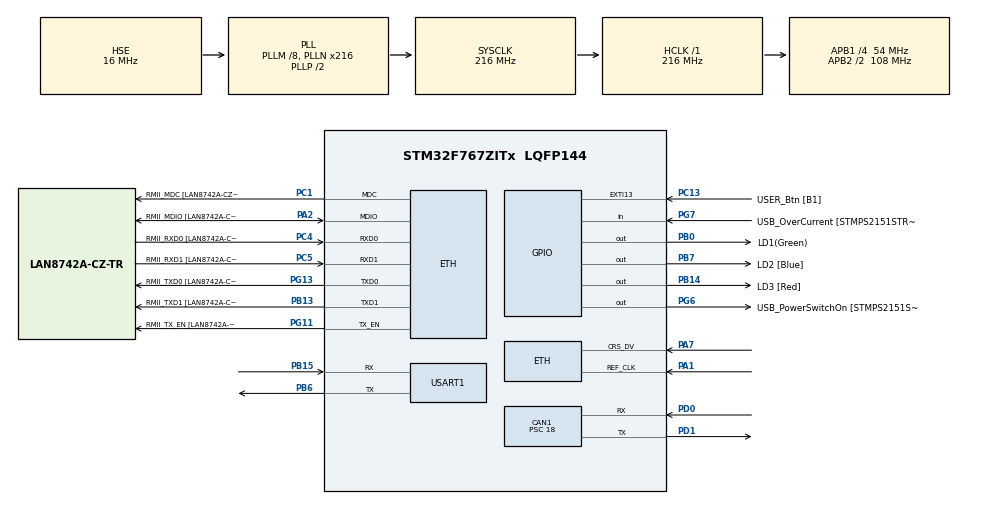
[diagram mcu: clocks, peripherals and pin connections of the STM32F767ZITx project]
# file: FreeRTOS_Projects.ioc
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CAN1.BS1=CAN_BS1_2TQ
CAN1.BS2=CAN_BS2_3TQ
CAN1.CalculateBaudRate=499999
CAN1.CalculateTimeBit=2000
CAN1.CalculateTimeQuantum=333.33333333333337
CAN1.Mode=CAN_MODE_LOOPBACK
CAN1.Prescaler=18
CAN1.SJW=CAN_SJW_2TQ
CORTEX_M7.AccessPermission-Cortex_Memory_Protection_Unit_Region0_Settings=MPU_REGION_FULL_ACCESS
CORTEX_M7.BaseAddress-Cortex_Memory_Protection_Unit_Region0_Settings=0x2007C000
CORTEX_M7.CPU_DCache=Enabled
CORTEX_M7.CPU_ICache=Enabled
CORTEX_M7.DisableExec-Cortex_Memory_Protection_Unit_Region0_Settings=MPU_INSTRUCTION_ACCESS_DISABLE
CORTEX_M7.Enable-Cortex_Memory_Protection_Unit_Region0_Settings=MPU_REGION_ENABLE
CORTEX_M7.IsBufferable-Cortex_Memory_Protection_Unit_Region0_Settings=MPU_ACCESS_NOT_BUFFERABLE
CORTEX_M7.IsShareable-Cortex_Memory_Protection_Unit_Region0_Settings=MPU_ACCESS_SHAREABLE
CORTEX_M7.MPU_Control=MPU_PRIVILEGED_DEFAULT
CORTEX_M7.Size-Cortex_Memory_Protection_Unit_Region0_Settings=MPU_REGION_SIZE_32KB
CORTEX_M7.TypeExtField-Cortex_Memory_Protection_Unit_Region0_Settings=MPU_TEX_LEVEL1
ETH.MediaInterface=HAL_ETH_RMII_MODE
ETH.RxBuffLen=1536
ETH.RxDescAddress=0x2007c000
ETH.RxMode=ETH_RXPOLLING_MODE
ETH.TxDescAddress=0x2007c0a0
Mcu.Family=STM32F7
Mcu.Name=STM32F767ZITx
Mcu.Package=LQFP144
NVIC.CAN1_RX0_IRQn=true\:0\:0\:false\:false\:true\:true\:true\:true
NVIC.CAN1_RX1_IRQn=true\:0\:0\:false\:false\:true\:true\:true\:true
NVIC.PriorityGroup=NVIC_PRIORITYGROUP_4
NVIC.TIM1_UP_TIM10_IRQn=true\:0\:0\:false\:false\:true\:true\:true\:true
NVIC.TIM6_DAC_IRQn=true\:15\:0\:false\:false\:true\:false\:true\:true
NVIC.TimeBase=TIM6_DAC_IRQn
NVIC.TimeBaseIP=TIM6
PA1.Mode=RMII
PA1.Signal=ETH_REF_CLK
PA10.GPIO_Label=USB_ID
PA10.Signal=USB_OTG_FS_ID
PA11.GPIO_Label=USB_DM
PA11.Signal=USB_OTG_FS_DM
PA12.GPIO_Label=USB_DP
PA12.Signal=USB_OTG_FS_DP
PA13.GPIO_Label=TMS
PA13.Signal=SYS_JTMS-SWDIO
PA14.GPIO_Label=TCK
PA14.Signal=SYS_JTCK-SWCLK
PA2.GPIO_Label=RMII_MDIO [LAN8742A-CZ-TR_MDIO]
PA2.Mode=RMII
PA2.Signal=ETH_MDIO
PA7.Mode=RMII
PA7.Signal=ETH_CRS_DV
PA8.GPIO_Label=USB_SOF [TP1]
PA8.Signal=USB_OTG_FS_SOF
PA9.GPIO_Label=USB_VBUS
PA9.Signal=USB_OTG_FS_VBUS
PB0.GPIO_Label=LD1(Green)
PB0.Signal=GPIO_Output
PB13.GPIO_Label=RMII_TXD1 [LAN8742A-CZ-TR_TXD1]
PB13.Mode=RMII
PB13.Signal=ETH_TXD1
PB14.GPIO_Label=LD3 [Red]
PB14.Signal=GPIO_Output
PB15.Mode=Asynchronous
PB15.Signal=USART1_RX
PB3.GPIO_Label=SW0
PB3.Signal=SYS_JTDO-SWO
PB6.Mode=Asynchronous
PB6.Signal=USART1_TX
PB7.GPIO_Label=LD2 [Blue]
PB7.Signal=GPIO_Output
PC1.GPIO_Label=RMII_MDC [LAN8742A-CZ-TR_MDC]
PC1.Mode=RMII
PC1.Signal=ETH_MDC
PC13.GPIO_Label=USER_Btn [B1]
PC13.Signal=GPXTI13
PC14/OSC32_IN.Signal=RCC_OSC32_IN
PC15/OSC32_OUT.Signal=RCC_OSC32_OUT
PC4.GPIO_Label=RMII_RXD0 [LAN8742A-CZ-TR_RXD0]
PC4.Mode=RMII
PC4.Signal=ETH_RXD0
PC5.GPIO_Label=RMII_RXD1 [LAN8742A-CZ-TR_RXD1]
PC5.Mode=RMII
PC5.Signal=ETH_RXD1
PD0.GPIO_PuPd=GPIO_PULLUP
PD0.Mode=CAN_Activate
PD0.Signal=CAN1_RX
PD1.GPIO_PuPd=GPIO_NOPULL
PD1.Mode=CAN_Activate
PD1.Signal=CAN1_TX
PD8.GPIO_Label=STLK_RX [STM32F103CBT6_PA3]
PD8.Signal=USART3_TX
PD9.GPIO_Label=STLK_TX [STM32F103CBT6_PA2]
PD9.Signal=USART3_RX
PG11.GPIO_Label=RMII_TX_EN [LAN8742A-CZ-TR_TXEN]
PG11.Mode=RMII
PG11.Signal=ETH_TX_EN
PG13.GPIO_Label=RMII_TXD0 [LAN8742A-CZ-TR_TXD0]
PG13.Mode=RMII
PG13.Signal=ETH_TXD0
PG6.GPIO_Label=USB_PowerSwitchOn [STMPS2151STR_EN]
PG6.Signal=GPIO_Output
PG7.GPIO_Label=USB_OverCurrent [STMPS2151STR_FAULT]
PG7.Signal=GPIO_Input
PH0/OSC_IN.GPIO_Label=MCO [STM32F103CBT6_PA8]
PH0/OSC_IN.Mode=HSE-External-Oscillator
PH0/OSC_IN.Signal=RCC_OSC_IN
PH1/OSC_OUT.Mode=HSE-External-Oscillator
PH1/OSC_OUT.Signal=RCC_OSC_OUT
ProjectManager.HeapSize=0x200
ProjectManager.StackSize=0x400
ProjectManager.TargetToolchain=STM32CubeIDE
RCC.48MHZClocksFreq_Value=24000000
RCC.AHBFreq_Value=216000000
RCC.APB1CLKDivider=RCC_HCLK_DIV4
RCC.APB1Freq_Value=54000000
RCC.APB1TimFreq_Value=108000000
RCC.APB2CLKDivider=RCC_HCLK_DIV2
RCC.APB2Freq_Value=108000000
RCC.APB2TimFreq_Value=216000000
RCC.CortexFreq_Value=216000000
RCC.HCLKFreq_Value=216000000
RCC.HSE_VALUE=16000000
RCC.HSI_VALUE=16000000
RCC.LSE_VALUE=32768
RCC.PLLM=8
RCC.PLLMUL=RCC_PLL_MUL9
RCC.PLLN=216
RCC.PLLQ=9
RCC.PLLSourceVirtual=RCC_PLLSOURCE_HSE
RCC.PRESCALERUSB=RCC_USBCLKSOURCE_PLL_DIV1_5
RCC.SYSCLKFreq_VALUE=216000000
RCC.SYSCLKSource=RCC_SYSCLKSOURCE_PLLCLK
RCC.SYSCLKSourceVirtual=RCC_SYSCLKSOURCE_PLLCLK
RCC.USBFreq_Value=48000000
RCC.VCOOutputFreq_Value=432000000
TIM1.Prescaler=10800-1
USART1.VirtualMode-Asynchronous=VM_ASYNC
VP_RNG_VS_RNG.Mode=RNG_Activate
VP_SYS_VS_tim6.Mode=TIM6
VP_TIM1_VS_ClockSourceINT.Mode=Internal
board=NUCLEO-F767ZI

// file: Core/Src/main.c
/* USER CODE BEGIN Header */
/**
  ******************************************************************************
  * @file           : main.c
  * @brief          : Main program body
  ******************************************************************************
  * @attention
  *
  * Copyright (c) 2026 STMicroelectronics.
  * All rights reserved.
  *
  * This software is licensed under terms that can be found in the LICENSE file
  * in the root directory of this software component.
  * If no LICENSE file comes with this software, it is provided AS-IS.
  *
  ******************************************************************************
  */
/* USER CODE END Header */
#include "main.h"
#include "can.h"
#include "eth.h"
#include "rng.h"
#include "tim.h"
#include "usart.h"
#include "gpio.h"

/* USER CODE BEGIN Includes */
#include "rtos.h"
#include "queue.h"
#include "app_config.h"
#include "stm32f767xx.h"
#include <../Src/tasks/IPTask/ipTask.h>
#include "tasks/AppManager/appTask.h"
#include "tasks/AppManager/mqtt/mqtt_task.h"
#include "tasks/CanCommunication/canTask.h"
/* USER CODE END Includes */

/* USER CODE BEGIN PV */
TaskAppQueues_s TaskQueues = {NULL, NULL};
/* USER CODE END PV */

void SystemClock_Config(void);
static void MPU_Config(void);

int main(void)
{

  /* MPU Configuration--------------------------------------------------------*/
  MPU_Config();

  /* Enable the CPU Cache */

  /* Enable I-Cache---------------------------------------------------------*/
  SCB_EnableICache();

  /* Enable D-Cache---------------------------------------------------------*/
  SCB_EnableDCache();

  /* MCU Configuration--------------------------------------------------------*/

  /* Reset of all peripherals, Initializes the Flash interface and the Systick. */
  HAL_Init();

  /* Configure the system clock */
  SystemClock_Config();

  /* Initialize all configured peripherals */
  MX_GPIO_Init();
  MX_CAN1_Init();
  MX_RNG_Init();
  MX_ETH_Init();
  MX_TIM1_Init();
  MX_USART1_UART_Init();
  /* USER CODE BEGIN 2 */
  SCB_DisableICache();
  SCB_DisableDCache();

  TaskQueues.mqttTaskQueue = xQueueCreate(TASK_QUEUE_LENGTH_MQTT, sizeof(MqttMessage_s));
  TaskQueues.canTaskQueue = xQueueCreate(TASK_QUEUE_LENGTH_CAN, sizeof(AppMessage_t));

  vStartNetwork();
  vTCPInitializeTask(&TaskQueues);
  AppTaskCreate();
  CanTaskCreate(&TaskQueues);

  configureInetrrupt();
  vTaskStartScheduler();

  /* USER CODE END 2 */

  /* Infinite loop */
  while (1)
  {

  }
}

void SystemClock_Config(void)
{
  RCC_OscInitTypeDef RCC_OscInitStruct = {0};
  RCC_ClkInitTypeDef RCC_ClkInitStruct = {0};

  /** Configure the main internal regulator output voltage
  */
  __HAL_RCC_PWR_CLK_ENABLE();
  __HAL_PWR_VOLTAGESCALING_CONFIG(PWR_REGULATOR_VOLTAGE_SCALE1);

  /** Initializes the RCC Oscillators according to the specified parameters
  * in the RCC_OscInitTypeDef structure.
  */
  RCC_OscInitStruct.OscillatorType = RCC_OSCILLATORTYPE_HSE;
  RCC_OscInitStruct.HSEState = RCC_HSE_ON;
  RCC_OscInitStruct.PLL.PLLState = RCC_PLL_ON;
  RCC_OscInitStruct.PLL.PLLSource = RCC_PLLSOURCE_HSE;
  RCC_OscInitStruct.PLL.PLLM = 8;
  RCC_OscInitStruct.PLL.PLLN = 216;
  RCC_OscInitStruct.PLL.PLLP = RCC_PLLP_DIV2;
  RCC_OscInitStruct.PLL.PLLQ = 9;
  RCC_OscInitStruct.PLL.PLLR = 2;
  if (HAL_RCC_OscConfig(&RCC_OscInitStruct) != HAL_OK)
  {
    Error_Handler();
  }

  /** Activate the Over-Drive mode
  */
  if (HAL_PWREx_EnableOverDrive() != HAL_OK)
  {
    Error_Handler();
  }

  /** Initializes the CPU, AHB and APB buses clocks
  */
  RCC_ClkInitStruct.ClockType = RCC_CLOCKTYPE_HCLK|RCC_CLOCKTYPE_SYSCLK
                              |RCC_CLOCKTYPE_PCLK1|RCC_CLOCKTYPE_PCLK2;
  RCC_ClkInitStruct.SYSCLKSource = RCC_SYSCLKSOURCE_PLLCLK;
  RCC_ClkInitStruct.AHBCLKDivider = RCC_SYSCLK_DIV1;
  RCC_ClkInitStruct.APB1CLKDivider = RCC_HCLK_DIV4;
  RCC_ClkInitStruct.APB2CLKDivider = RCC_HCLK_DIV2;

  if (HAL_RCC_ClockConfig(&RCC_ClkInitStruct, FLASH_LATENCY_7) != HAL_OK)
  {
    Error_Handler();
  }
}

 /* MPU Configuration */

void MPU_Config(void)
{
  MPU_Region_InitTypeDef MPU_InitStruct = {0};

  /* Disables the MPU */
  HAL_MPU_Disable();

  /** Initializes and configures the Region and the memory to be protected
  */
  MPU_InitStruct.Enable = MPU_REGION_ENABLE;
  MPU_InitStruct.Number = MPU_REGION_NUMBER0;
  MPU_InitStruct.BaseAddress = 0x2007C000;
  MPU_InitStruct.Size = MPU_REGION_SIZE_32KB;
  MPU_InitStruct.SubRegionDisable = 0x0;
  MPU_InitStruct.TypeExtField = MPU_TEX_LEVEL1;
  MPU_InitStruct.AccessPermission = MPU_REGION_FULL_ACCESS;
  MPU_InitStruct.DisableExec = MPU_INSTRUCTION_ACCESS_DISABLE;
  MPU_InitStruct.IsShareable = MPU_ACCESS_SHAREABLE;
  MPU_InitStruct.IsCacheable = MPU_ACCESS_NOT_CACHEABLE;
  MPU_InitStruct.IsBufferable = MPU_ACCESS_NOT_BUFFERABLE;

  HAL_MPU_ConfigRegion(&MPU_InitStruct);
  /* Enables the MPU */
  HAL_MPU_Enable(MPU_PRIVILEGED_DEFAULT);

}

void HAL_TIM_PeriodElapsedCallback(TIM_HandleTypeDef *htim)
{
  if (htim->Instance == TIM6)
  {
    HAL_IncTick();
  }
}

void Error_Handler(void)
{
  __disable_irq();
  while (1)
  {
  }
}
